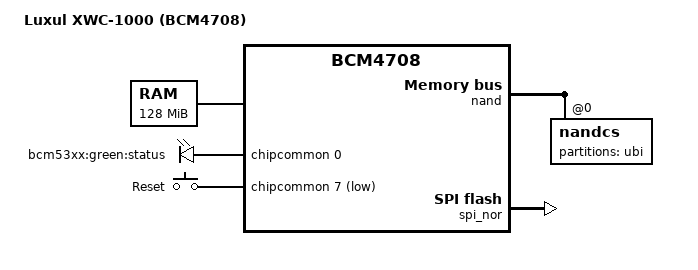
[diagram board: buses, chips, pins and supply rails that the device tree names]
// SPDX-License-Identifier: GPL-2.0-or-later OR MIT
/*
 * Broadcom BCM470X / BCM5301X ARM platform code.
 * DTS for Luxul XWC-1000
 *
 * Copyright 2014 Luxul Inc.
 */

/dts-v1/;

#include "bcm4708.dtsi"
#include "bcm5301x-nand-cs0-bch8.dtsi"

/ {
	compatible = "luxul,xwc-1000", "brcm,bcm4708";
	model = "Luxul XWC-1000 (BCM4708)";

	chosen {
		bootargs = "console=ttyS0,115200 earlycon";
	};

	memory {
		reg = <0x00000000 0x08000000>;
	};

	nand: nand@18028000 {
		nandcs@0 {
			partitions {
				compatible = "fixed-partitions";
				#address-cells = <1>;
				#size-cells = <1>;

				partition@0 {
					label = "ubi";
					reg = <0x00000000 0x08000000>;
				};
			};
		};
	};

	leds {
		compatible = "gpio-leds";

		status {
			label = "bcm53xx:green:status";
			gpios = <&chipcommon 0 GPIO_ACTIVE_HIGH>;
			linux,default-trigger = "timer";
		};
	};

	gpio-keys {
		compatible = "gpio-keys";
		#address-cells = <1>;
		#size-cells = <0>;

		restart {
			label = "Reset";
			linux,code = <KEY_RESTART>;
			gpios = <&chipcommon 7 GPIO_ACTIVE_LOW>;
		};
	};
};

&spi_nor {
	status = "okay";
};
